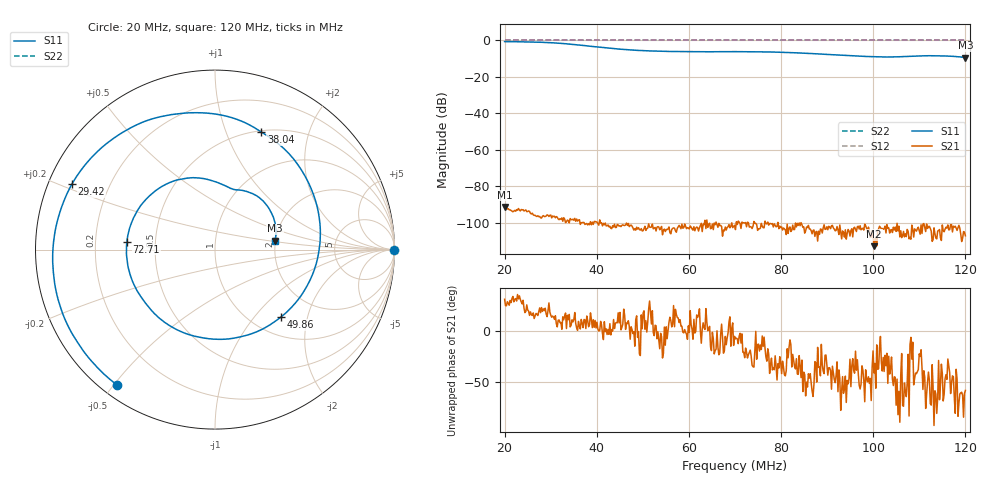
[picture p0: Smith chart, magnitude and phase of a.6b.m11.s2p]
! Anritsu VNA Master:  Model: MS2036C/10/77
! SN:  1601066
! /bd0/18may07/256.ns.m11.s2p
! Existing Calibration Information:
! TYPE:  Current Settings,  Active Cal Settings
! TIME:  05/07/2018 03:25:54 PM,  05/07/2018 03:13:55 PM
! INTERNAL TEMP:  62.0 C,  60.5 C
! # POINTS:  500,  500
! START FREQ:  20.000 MHz,  20.000 MHz
! STOP FREQ:  120.000 MHz,  120.000 MHz
! SOURCE POWER:  High,  High
! IFBW:  50 Hz,  50 Hz
! AVG FACTOR:  1 ,  1
! REF PLANE 1:  0 mm,  0 mm
! REF PLANE 2:  0 mm,  0 mm
! CAL TYPE:  Full S11,  Full S11
! CAL METHOD:  SOLT,  SOLT
! CAL LINE TYPE:  Coax,  Coax
! DUT PORT 1:  K-Conn(F),  K-Conn(F)
! DUT PORT 2:  K-Conn(F),  K-Conn(F)
! CAL STATUS:  OK: Accuracy High,  --
# GHZ S DB R 50.0
! FREQ.GHZ  S11DB  S11A  S21DB  S21A  S12DB  S12A  S22DB  S22A
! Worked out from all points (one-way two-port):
!   500 points, 20 MHz to 120 MHz, reference 50 ohm
!   highest |S21| = -91.49 dB at 20 MHz (marker M1); lowest = -113.0 dB at 100.2 MHz (marker M2)
!   lowest |S11| = -9.4 dB at 120 MHz (marker M3), VSWR 2.02, Z = 99.4 + j11 ohm
!   |S11| at or under -10 dB: nowhere
!   |S22| runs from 0.0 to 0.0 dB; largest |S21 - S12| = 1
!   S11 on the Smith chart (normalised r, x): 20 MHz: 0.05, -0.51; 29.42 MHz: 0.07, +0.22; 38.04 MHz: 0.52, +1.34; 49.86 MHz: 1.34, -1.39; 72.71 MHz: 0.34, +0.04; 120 MHz: 1.99, +0.22
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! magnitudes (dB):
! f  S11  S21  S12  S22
! 20 MHz  -0.6  -91.5  0.0  0.0
! 24.81 MHz  -0.8  -94.0  0.0  0.0
! 29.42 MHz  -1.1  -96.0  0.0  0.0
! 33.03 MHz  -1.8  -98.1  0.0  0.0
! 36.83 MHz  -2.7  -100.0  0.0  0.0
! 38.04 MHz  -3.0  -101.3  0.0  0.0
! 44.65 MHz  -4.7  -101.3  0.0  0.0
! 49.86 MHz  -5.6  -104.6  0.0  0.0
! 53.47 MHz  -5.9  -102.5  0.0  0.0
! 56.87 MHz  -6.1  -103.1  0.0  0.0
! 63.69 MHz  -6.2  -103.3  0.0  0.0
! 70.1 MHz  -6.1  -103.9  0.0  0.0
! 72.71 MHz  -6.1  -99.8  0.0  0.0
! 78.72 MHz  -6.4  -101.6  0.0  0.0
! 86.73 MHz  -7.2  -106.2  0.0  0.0
! 94.95 MHz  -8.4  -107.4  0.0  0.0
! 100.2 MHz  -8.9  -113.0  0.0  0.0
! 103.4 MHz  -9.1  -102.9  0.0  0.0
! 110.6 MHz  -8.5  -106.0  0.0  0.0
! 113.2 MHz  -8.4  -102.9  0.0  0.0
! 117.2 MHz  -8.7  -105.2  0.0  0.0
! 120 MHz  -9.4  -107.3  0.0  0.0
